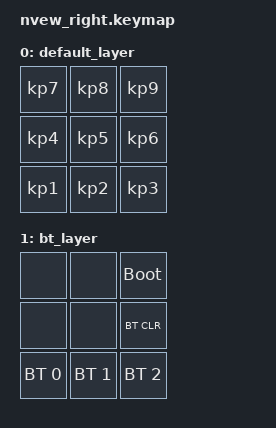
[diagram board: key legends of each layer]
/*
 * Copyright (c) 2020 The ZMK Contributors
 *
 * SPDX-License-Identifier: MIT
 */

#include <behaviors.dtsi>
#include <dt-bindings/zmk/keys.h>
#include <dt-bindings/zmk/bt.h>

/ {
        keymap {
                compatible = "zmk,keymap";

                default_layer {
                    bindings = <
                        &kp KP_N7    &kp KP_N8    &kp KP_N9
                        &kp KP_N4    &kp KP_N5    &kp KP_N6
                        &kp KP_N1    &kp KP_N2    &kp KP_N3
                    >;
                };
                bt_layer {
                    bindings = <
                        &none           &none           &bootloader
                        &none           &none           &bt BT_CLR
                        &bt BT_SEL 0    &bt BT_SEL 1    &bt BT_SEL 2
                    >;
                };
        };
};
